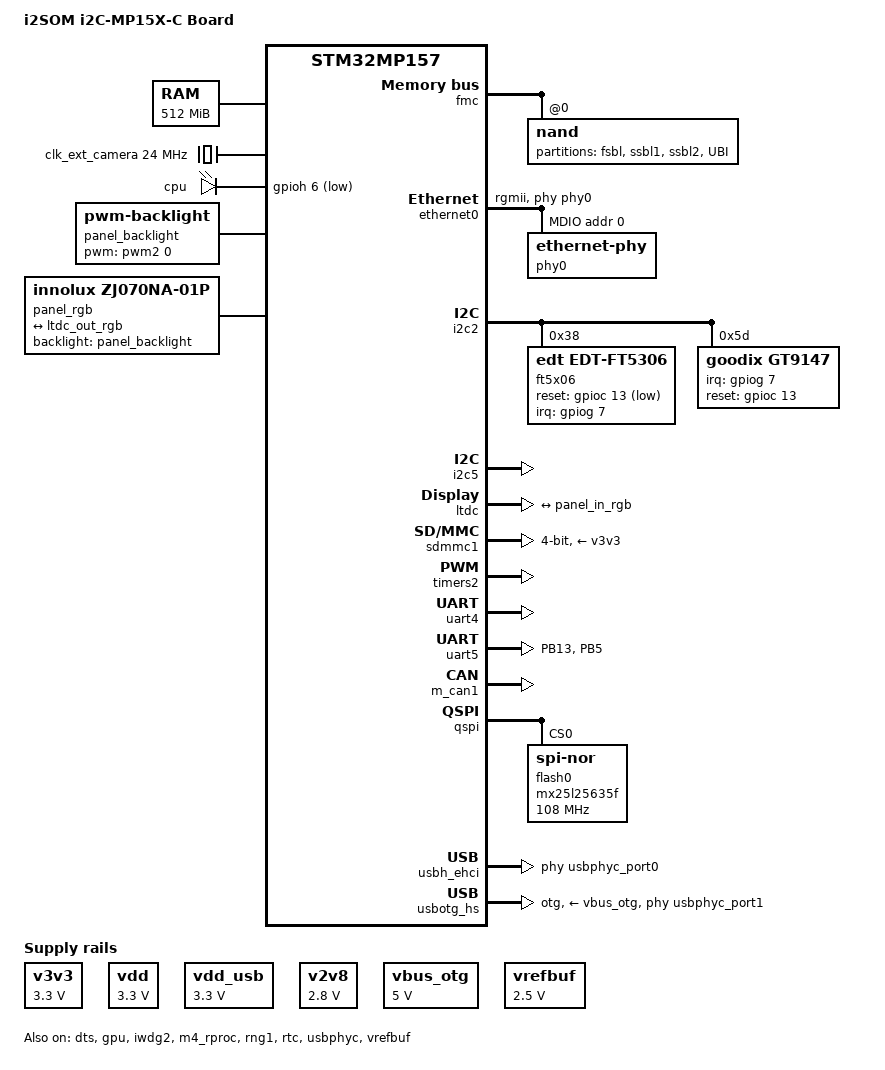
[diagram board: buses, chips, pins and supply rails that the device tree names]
// SPDX-License-Identifier: (GPL-2.0+ OR BSD-3-Clause)
/*
 * Copyright (C) i2SOM 2018 - All Rights Reserved
 * Author: Steve Chen <steve.chen@i2som.tech>.
 */

/dts-v1/;

#include "stm32mp157c.dtsi"
#include "stm32mp157c-m4-srm.dtsi"
#include "stm32mp157caa-pinctrl.dtsi"
#include <dt-bindings/gpio/gpio.h>
#include <dt-bindings/input/input.h>

/ {
	model = "i2SOM i2C-MP15X-C Board";
	compatible = "i2som,i2cmp15xb", "st,stm32mp157";

	aliases {
		ethernet0 = &ethernet0;
		serial0 = &uart4;
		serial1 = &uart5;
	};

	chosen {
		stdout-path = "serial0:115200n8";
	};

	memory@c0000000 {
		reg = <0xc0000000 0x20000000>;
	};

	reserved-memory {
		#address-cells = <1>;
		#size-cells = <1>;
		ranges;

		retram: retram@0x38000000 {
			compatible = "shared-dma-pool";
			reg = <0x38000000 0x10000>;
			no-map;
		};

		mcuram: mcuram@0x30000000 {
			compatible = "shared-dma-pool";
			reg = <0x30000000 0x40000>;
			no-map;
		};

		mcuram2: mcuram2@0x10000000 {
			compatible = "shared-dma-pool";
			reg = <0x10000000 0x40000>;
			no-map;
		};

		vdev0vring0: vdev0vring0@10040000 {
			compatible = "shared-dma-pool";
			reg = <0x10040000 0x2000>;
			no-map;
		};

		vdev0vring1: vdev0vring1@10042000 {
			compatible = "shared-dma-pool";
			reg = <0x10042000 0x2000>;
			no-map;
		};

		vdev0buffer: vdev0buffer@10044000 {
			compatible = "shared-dma-pool";
			reg = <0x10044000 0x4000>;
			no-map;
		};

		gpu_reserved: gpu@dc000000 {
			reg = <0xdc000000 0x4000000>;
			no-map;
		};
	};

	sram: sram@10050000 {
		compatible = "mmio-sram";
		reg = <0x10050000 0x10000>;
		#address-cells = <1>;
		#size-cells = <1>;
		ranges = <0 0x10050000 0x10000>;

		dma_pool: dma_pool@0 {
			reg = <0x0 0x10000>;
			pool;
		};
	};

	clocks {
		clk_ext_camera: clk-ext-camera {
			#clock-cells = <0>;
			compatible = "fixed-clock";
			clock-frequency = <24000000>;
		};
	};

	leds {
		compatible = "gpio-leds";

		cpu {
			label = "cpu";
			gpios = <&gpioh 6 GPIO_ACTIVE_LOW>;
			linux,default-trigger = "heartbeat";
			default-state = "on";
		};
	};

	usb_phy_tuning: usb-phy-tuning {
		st,hs-dc-level = <2>;
		st,fs-rftime-tuning;
		st,hs-rftime-reduction;
		st,hs-current-trim = <15>;
		st,hs-impedance-trim = <1>;
		st,squelch-level = <3>;
		st,hs-rx-offset = <2>;
		st,no-lsfs-sc;
	};

	v3v3: regulator-3p3v {
		compatible = "regulator-fixed";
		regulator-name = "v3v3";
		regulator-min-microvolt = <3300000>;
		regulator-max-microvolt = <3300000>;
		regulator-always-on;
		regulator-boot-on;
	};
	
	vdd: regulator-vdd {
		compatible = "regulator-fixed";
		regulator-name = "vdd";
		regulator-min-microvolt = <3300000>;
		regulator-max-microvolt = <3300000>;
		regulator-always-on;
		regulator-boot-on;
	};

	vdd_usb: regulator-vdd-usb {
		compatible = "regulator-fixed";
		regulator-name = "vdd_usb";
		regulator-min-microvolt = <3300000>;
		regulator-max-microvolt = <3300000>;
		regulator-always-on;
		regulator-boot-on;
	};

	v2v8: v2v8 {
		compatible = "regulator-fixed";
		regulator-name = "v2v8";
		regulator-min-microvolt = <2800000>;
		regulator-max-microvolt = <2800000>;
		regulator-always-on;
		regulator-boot-on;
	};

	vbus_otg: regulator-vbus-otg {
		compatible = "regulator-fixed";
		regulator-name = "vbus_otg";
		regulator-min-microvolt = <5000000>;
		regulator-max-microvolt = <5000000>;
		regulator-always-on;
		regulator-boot-on;
	};

	panel_backlight: panel-backlight {
		compatible = "pwm-backlight";
		pwms = <&pwm2 0 500000>;
		brightness-levels = <0 4 8 14 18 24 28 34 38 44 48 54 58 64 68 74 78 84 88 96 112 128 144 160 176 192 194 196 200 255>;
		default-brightness-level = <6>;
		status = "okay";
	};

	panel_rgb: panel-rgb {
		//compatible = "innolux,at070tn92";
		compatible = "innolux,zj070na-01p";
		//compatible = "innolux,at043tn24";
		pinctrl-names = "default", "sleep";
		pinctrl-0 = <&ltdc_pins_b>;
		pinctrl-1 = <&ltdc_pins_sleep_b>;
		backlight = <&panel_backlight>;
		status = "okay";

		port {
			panel_in_rgb: endpoint {
				remote-endpoint = <&ltdc_out_rgb>;
			};
		};
	};


};

&pinctrl {
	pwm2_pins_b: pwm2-0 {
		pins {
			pinmux = <STM32_PINMUX('A', 5, AF1)>; /* TIM2_CH1 */
			bias-pull-down;
			drive-push-pull;
			slew-rate = <0>;
		};
	};

	pwm2_sleep_pins_b: pwm2-sleep-0 {
		pins {
			pinmux = <STM32_PINMUX('A', 5, ANALOG)>; /* TIM2_CH1 */
		};
	};

	i2s2_pins_b: i2s2-2 {
		pins {
			pinmux = <STM32_PINMUX('C', 3, AF5)>, /* I2S2_SDO */
				 <STM32_PINMUX('B', 9, AF5)>, /* I2S2_WS */
				 <STM32_PINMUX('B', 10, AF5)>; /* I2S2_CK */
			slew-rate = <1>;
			drive-push-pull;
			bias-disable;
		};
	};

	i2s2_pins_sleep_b: i2s2-3 {
		pins {
			pinmux = <STM32_PINMUX('C', 3, ANALOG)>, /* I2S2_SDO */
				 <STM32_PINMUX('B', 9, ANALOG)>, /* I2S2_WS */
				 <STM32_PINMUX('B', 10, ANALOG)>; /* I2S2_CK */
		};
	};

	uart5_pins_a: uart5-0 {
		pins1 {
			pinmux = <STM32_PINMUX('B', 13, AF14)>; /* UART5_TX */
			bias-disable;
			drive-push-pull;
			slew-rate = <0>;
		};
		pins2 {
			pinmux = <STM32_PINMUX('B', 5, AF12)>; /* UART5_RX */
			bias-disable;
		};
	};

	uart5_idle_pins_a: uart5-idle-0 {
		pins1 {
			pinmux = <STM32_PINMUX('B', 13, ANALOG)>; /* UART5_TX */
		};
		pins2 {
			pinmux = <STM32_PINMUX('B', 5, AF7)>; /* UART5_RX */
			bias-disable;
		};
	};

	uart5_sleep_pins_a: uart5-sleep-0 {
		pins {
			pinmux = <STM32_PINMUX('B', 13, ANALOG)>, /* UART5_TX */
				 <STM32_PINMUX('B', 5, ANALOG)>; /* UART5_RX */
		};
	};

	gt9147_irq:gt9147_irq {
		pins {
			pinmux = <STM32_PINMUX('G', 7, GPIO)>; /* PG7.GPIO */
			bias-pull-down;
			drive-push-pull;
		};
	};

};

&cec {
	pinctrl-names = "default", "sleep";
	pinctrl-0 = <&cec_pins_a>;
	pinctrl-1 = <&cec_pins_sleep_a>;
	status = "disabled";
};

&fmc {
	pinctrl-names = "default", "sleep";
	pinctrl-0 = <&fmc_pins_a>;
	pinctrl-1 = <&fmc_sleep_pins_a>;
	#address-cells = <1>;
	#size-cells = <0>;
	status = "okay";

	nand: nand@0 {
		reg = <0>;
		nand-on-flash-bbt;
		#address-cells = <1>;
		#size-cells = <1>;
		nand-ecc-strength = <4>;
		nand-ecc-step-size = <512>;

		partition@0 {
			label = "fsbl";
			reg = <0x0 0x200000>;
		};
		partition@200000 {
			label = "ssbl1";
			reg = <0x200000 0x400000>;
		};
		partition@40000 {
			label = "ssbl2";
			reg = <0x400000 0x600000>;
		};
		partition@600000 {
			label = "UBI";
			reg = <0x600000 0xf800000>;
		};
	};
};

&dma1 {
	sram = <&dma_pool>;
};

&dma2 {
	sram = <&dma_pool>;
};

&dts {
	status = "okay";
};

&ethernet0 {
	pinctrl-0 = <&ethernet0_rgmii_pins_a>;
	pinctrl-1 = <&ethernet0_rgmii_pins_sleep_a>;
	pinctrl-names = "default", "sleep";
	phy-mode = "rgmii";
	max-speed = <1000>;
	phy-handle = <&phy0>;
	status = "okay";

	mdio0 {
		#address-cells = <1>;
		#size-cells = <0>;
		compatible = "snps,dwmac-mdio";
		phy0: ethernet-phy@0 {
			reg = <0>;
		};
	};
};

&gpu {
	contiguous-area = <&gpu_reserved>;
	status = "okay";
};

&i2c2 {
	pinctrl-names = "default", "sleep";
	pinctrl-0 = <&i2c2_pins_a>;
	pinctrl-1 = <&i2c2_pins_sleep_a>;
	i2c-scl-rising-time-ns = <100>;
	i2c-scl-falling-time-ns = <7>;
	status = "okay";
	/delete-property/dmas;
	/delete-property/dma-names;

/*
	tsc2007: tsc2007@48 {
		compatible = "ti,tsc2007";
		reg = <0x48>;
		interrupt-parent = <&gpioi>;
		interrupts = <8 IRQ_TYPE_EDGE_FALLING>;
		interrupt-controller;
		gpios = <&gpioi 8 GPIO_ACTIVE_LOW>;
		ti,x-plate-ohms = <660>;
	};
*/
	ft5x06: ft5x06@38 {
		compatible = "edt,edt-ft5306";
		reg = <0x38>;
		interrupts = <7 IRQ_TYPE_EDGE_FALLING>;
		interrupt-parent = <&gpiog>;
		interrupt-controller;
		reset-gpios = <&gpioc 13 GPIO_ACTIVE_LOW>;
		status = "okay";
	};

	gt9147@5d {
		compatible = "goodix,gt9147";
		reg = <0x5d>;
		pinctrl-names = "default";
		pinctrl-0 = <&gt9147_irq>;
		irq-gpios = <&gpiog 7 GPIO_ACTIVE_HIGH>;
		reset-gpios = <&gpioc 13 GPIO_ACTIVE_HIGH>;
		status = "okay";
	};

};

&i2c5 {
	pinctrl-names = "default", "sleep";
	pinctrl-0 = <&i2c5_pins_a>;
	pinctrl-1 = <&i2c5_pins_sleep_a>;
	i2c-scl-rising-time-ns = <100>;
	i2c-scl-falling-time-ns = <7>;
	status = "okay";
	/delete-property/dmas;
	/delete-property/dma-names;

};

&i2s2 {
	clocks = <&rcc SPI2>, <&rcc SPI2_K>, <&rcc PLL3_Q>, <&rcc PLL3_R>;
	clock-names = "pclk", "i2sclk", "x8k", "x11k";
	pinctrl-names = "default", "sleep";
	pinctrl-0 = <&i2s2_pins_b>;
	pinctrl-1 = <&i2s2_pins_sleep_b>;
	status = "disabled";
};

&ipcc {
	status = "okay";
};

&iwdg2 {
	timeout-sec = <32>;
	status = "okay";
};

&ltdc {
	status = "okay";

	port {
		#address-cells = <1>;
		#size-cells = <0>;

		ltdc_out_rgb: endpoint@0 {
			reg = <0>;
			remote-endpoint = <&panel_in_rgb>;
		};
	};
};

&m4_rproc {
	memory-region = <&retram>, <&mcuram>, <&mcuram2>, <&vdev0vring0>,
			<&vdev0vring1>, <&vdev0buffer>;
	mboxes = <&ipcc 0>, <&ipcc 1>, <&ipcc 2>;
	mbox-names = "vq0", "vq1", "shutdown";
	interrupt-parent = <&exti>;
	interrupts = <68 1>;
	interrupt-names = "wdg";
	recovery;
	status = "okay";
};

&pwr {
	pwr-supply = <&vdd>;
};

&rng1 {
	status = "okay";
};

&rtc {
	status = "okay";
};

&sai2 {
	clocks = <&rcc SAI2>, <&rcc PLL3_Q>, <&rcc PLL3_R>;
	clock-names = "pclk", "x8k", "x11k";
	pinctrl-names = "default", "sleep";
	pinctrl-0 = <&sai2a_pins_a>, <&sai2b_pins_b>;
	pinctrl-1 = <&sai2a_sleep_pins_a>, <&sai2b_sleep_pins_b>;
	status = "disabled";
};

&sdmmc1 {
	pinctrl-names = "default", "opendrain", "sleep";
	pinctrl-0 = <&sdmmc1_b4_pins_a>;
	pinctrl-1 = <&sdmmc1_b4_od_pins_a>;
	pinctrl-2 = <&sdmmc1_b4_sleep_pins_a>;
	broken-cd;
	st,neg-edge;
	bus-width = <4>;
	vmmc-supply = <&v3v3>;
	status = "okay";
};

&sdmmc2 {
	pinctrl-names = "default", "opendrain", "sleep";
	pinctrl-0 = <&sdmmc2_b4_pins_b &sdmmc2_d47_pins_a>;
	pinctrl-1 = <&sdmmc2_b4_od_pins_b>;
	pinctrl-2 = <&sdmmc2_b4_sleep_pins_a &sdmmc2_d47_sleep_pins_a>;
	non-removable;
	st,neg-edge;
	bus-width = <8>;
	vmmc-supply = <&v3v3>;
	keep-power-in-suspend;
	status = "disabled";
};

&spi4 {
	pinctrl-names = "default", "sleep";
	pinctrl-0 = <&spi4_pins_a>;
	pinctrl-1 = <&spi4_sleep_pins_a>;
	status = "disabled";
};

&spi5 {
	pinctrl-names = "default", "sleep";
	pinctrl-0 = <&spi5_pins_a>;
	pinctrl-1 = <&spi5_sleep_pins_a>;
	status = "disabled";
};

&timers2 {
	status = "okay";
	/* spare dmas for other usage */
	/delete-property/dmas;
	/delete-property/dma-names;
	pwm2: pwm {
		pinctrl-0 = <&pwm2_pins_b>;
		pinctrl-1 = <&pwm2_sleep_pins_b>;
		pinctrl-names = "default", "sleep";
		#pwm-cells = <2>;
		status = "okay";
	};
	timer@1 {
		status = "disabled";
	};
};

&uart4 {
	pinctrl-names = "default", "sleep", "idle", "no_console_suspend";
	pinctrl-0 = <&uart4_pins_a>;
	pinctrl-1 = <&uart4_sleep_pins_a>;
	pinctrl-2 = <&uart4_idle_pins_a>;
	pinctrl-3 = <&uart4_pins_a>;
	status = "okay";
};

&uart5 {
	pinctrl-names = "default", "sleep", "idle";
	pinctrl-0 = <&uart5_pins_a>;
	pinctrl-1 = <&uart5_sleep_pins_a>;
	pinctrl-2 = <&uart5_idle_pins_a>;
	status = "okay";
};

&m_can1 {
	pinctrl-names = "default", "sleep";
	pinctrl-0 = <&m_can1_pins_a>;
	pinctrl-1 = <&m_can1_sleep_pins_a>;
	status = "okay";
};

&qspi {
	pinctrl-names = "default", "sleep";
	pinctrl-0 = <&qspi_clk_pins_a &qspi_bk1_pins_a>;
	pinctrl-1 = <&qspi_clk_sleep_pins_a &qspi_bk1_sleep_pins_a>;
	reg = <0x58003000 0x1000>, <0x70000000 0x4000000>;
	#address-cells = <1>;
	#size-cells = <0>;
	status = "okay";

	flash0: mx25l25635f@0 {
		compatible = "jedec,spi-nor";
		reg = <0>;
		spi-rx-bus-width = <4>;
		spi-max-frequency = <108000000>;
		#address-cells = <1>;
		#size-cells = <1>;
	};
};

&usbh_ehci {
	phys = <&usbphyc_port0>;
	phy-names = "usb";
	status = "okay";
};

&usbotg_hs {
	pinctrl-names = "default";
	pinctrl-0 = <&usbotg_hs_pins_a>;
	dr_mode = "otg";
	phys = <&usbphyc_port1 0>;
	phy-names = "usb2-phy";
	vbus-supply = <&vbus_otg>;
	status = "okay";
};

&usbphyc {
	vdd3v3-supply = <&vdd_usb>;
	status = "okay";
};

&usbphyc_port0 {
	st,phy-tuning = <&usb_phy_tuning>;
};

&usbphyc_port1 {
	st,phy-tuning = <&usb_phy_tuning>;
};

&vrefbuf {
	regulator-min-microvolt = <2500000>;
	regulator-max-microvolt = <2500000>;
	vdda-supply = <&vdd>;
	status = "okay";
};
